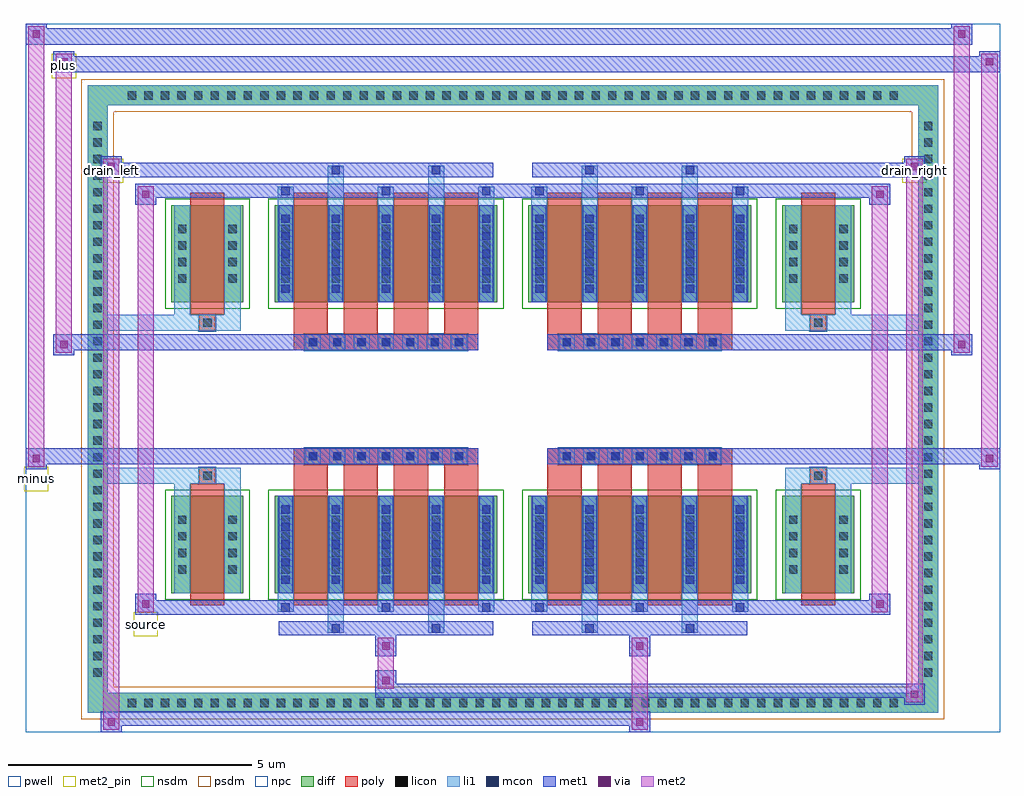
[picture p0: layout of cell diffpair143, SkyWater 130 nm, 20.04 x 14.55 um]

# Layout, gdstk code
import gdstk
lib = gdstk.Library(unit=1e-6, precision=5e-09)
def R(c, l, rs):  # rectangles x0, y0, x1, y1
    for r in rs: c.add(gdstk.rectangle(r[:2], r[2:], *l))
def A(c, l, x, y, w, h, nx, ny, dx, dy):  # array of equal rectangles
    R(c, l, [(x+i*dx, y+j*dy, x+i*dx+w, y+j*dy+h) for i in range(nx) for j in range(ny)])
def P(c, l, *ps):  # polygons
    for p in ps: c.add(gdstk.Polygon(p, *l))
pwell = (64, 44)
diff = (65, 20)
poly = (66, 20)
licon = (66, 44)
li1 = (67, 20)
mcon = (67, 44)
met1 = (68, 20)
via = (68, 44)
met2_pin = (69, 16)
met2 = (69, 20)
nsdm = (93, 44)
psdm = (94, 20)
npc = (95, 20)

diffpair143 = lib.new_cell('diffpair143')
R(diffpair143, pwell, [(-10,-6.84,10,7.71), (-7.32,-5.03,-0.01,-0.805), (0.01,-5.03,7.32,-0.805), (-7.32,0.805,-0.01,5.03), (0.01,0.805,7.32,5.03)])
A(diffpair143, diff, -8.025, -6.44, 0.41, 0.41, 47, 2, 0.34, 12.47)
A(diffpair143, diff, -8.73, -5.815, 0.41, 0.41, 1, 34, 0, 0.34)
A(diffpair143, diff, 8.32, -5.815, 0.41, 0.41, 1, 34, 0, 0.34)
R(diffpair143, diff, [(-8.025,-6.44,8.025,-6.03), (-8.73,-5.815,-8.32,5.815), (8.32,-5.815,8.73,5.815), (-7.01,-3.985,-5.53,-1.985), (-4.89,-3.985,-0.32,-1.985), (0.32,-3.985,4.89,-1.985), (5.53,-3.985,7.01,-1.985), (-7.01,1.985,-5.53,3.985), (-4.89,1.985,-0.32,3.985), (0.32,1.985,4.89,3.985), (5.53,1.985,7.01,3.985), (-8.025,6.03,8.025,6.44)])
P(diffpair143, diff, [(8.73,6.44),(-8.73,6.44),(-8.73,-6.03),(-8.32,-6.03),(-8.32,6.03),(8.32,6.03),(8.32,-6.03),(-8.32,-6.03),(-8.73,-6.03),(-8.73,-6.44),(8.73,-6.44)])
A(diffpair143, poly, -4.5, -4.235, 0.7, 2.5, 4, 2, 1.03, 5.97)
A(diffpair143, poly, 0.71, -4.235, 0.7, 2.5, 4, 2, 1.03, 5.97)
A(diffpair143, poly, -4.5, -1.735, 0.7, 0.4, 4, 2, 1.03, 3.07)
A(diffpair143, poly, 0.71, -1.735, 0.7, 0.4, 4, 2, 1.03, 3.07)
A(diffpair143, poly, -4.27, -1.335, 0.33, 0.33, 7, 2, 0.5, 2.34)
A(diffpair143, poly, 0.94, -1.335, 0.33, 0.33, 7, 2, 0.5, 2.34)
R(diffpair143, poly, [(-6.62,-4.235,-5.92,-1.735), (5.92,-4.235,6.62,-1.735), (-6.435,-1.735,-6.105,-1.405), (-6.435,-1.735,-6.105,-1.405), (6.105,-1.735,6.435,-1.405), (6.105,-1.735,6.435,-1.405), (-4.5,-1.335,-0.71,-1.005), (0.71,-1.335,4.5,-1.005), (-4.5,1.005,-0.71,1.335), (0.71,1.005,4.5,1.335), (-6.435,1.405,-6.105,1.735), (-6.435,1.405,-6.105,1.735), (6.105,1.405,6.435,1.735), (6.105,1.405,6.435,1.735), (-6.62,1.735,-5.92,4.235), (5.92,1.735,6.62,4.235)])
A(diffpair143, licon, -7.905, -6.32, 0.17, 0.17, 47, 2, 0.34, 12.47)
A(diffpair143, licon, -8.61, -5.695, 0.17, 0.17, 1, 34, 0, 0.34)
A(diffpair143, licon, 8.44, -5.695, 0.17, 0.17, 1, 34, 0, 0.34)
A(diffpair143, licon, -6.87, -3.58, 0.17, 0.17, 1, 4, 0, 0.34)
A(diffpair143, licon, -5.84, -3.58, 0.17, 0.17, 1, 4, 0, 0.34)
A(diffpair143, licon, -4.75, -3.58, 0.17, 0.17, 5, 4, 1.03, 0.34)
A(diffpair143, licon, 0.46, -3.58, 0.17, 0.17, 5, 4, 1.03, 0.34)
A(diffpair143, licon, 5.67, -3.58, 0.17, 0.17, 1, 4, 0, 0.34)
A(diffpair143, licon, 6.7, -3.58, 0.17, 0.17, 1, 4, 0, 0.34)
A(diffpair143, licon, -4.19, -1.255, 0.17, 0.17, 7, 2, 0.5, 2.34)
A(diffpair143, licon, 1.02, -1.255, 0.17, 0.17, 7, 2, 0.5, 2.34)
A(diffpair143, licon, -6.87, 2.39, 0.17, 0.17, 1, 4, 0, 0.34)
A(diffpair143, licon, -5.84, 2.39, 0.17, 0.17, 1, 4, 0, 0.34)
A(diffpair143, licon, -4.75, 2.39, 0.17, 0.17, 5, 4, 1.03, 0.34)
A(diffpair143, licon, 0.46, 2.39, 0.17, 0.17, 5, 4, 1.03, 0.34)
A(diffpair143, licon, 5.67, 2.39, 0.17, 0.17, 1, 4, 0, 0.34)
A(diffpair143, licon, 6.7, 2.39, 0.17, 0.17, 1, 4, 0, 0.34)
R(diffpair143, licon, [(-6.355,-1.655,-6.185,-1.485), (6.185,-1.655,6.355,-1.485), (-6.355,1.485,-6.185,1.655), (6.185,1.485,6.355,1.655)])
A(diffpair143, li1, -7.985, -6.4, 0.33, 0.33, 47, 2, 0.34, 12.47)
A(diffpair143, li1, -8.69, -5.775, 0.33, 0.33, 1, 34, 0, 0.34)
A(diffpair143, li1, 8.36, -5.775, 0.33, 0.33, 1, 34, 0, 0.34)
A(diffpair143, li1, -4.83, -4.36, 0.33, 0.375, 3, 2, 2.06, 8.345)
A(diffpair143, li1, -4.75, -4.36, 0.17, 0.17, 3, 2, 2.06, 8.55)
A(diffpair143, li1, 0.38, -4.36, 0.33, 0.375, 3, 2, 2.06, 8.345)
A(diffpair143, li1, 0.46, -4.36, 0.17, 0.17, 3, 2, 2.06, 8.55)
A(diffpair143, li1, -4.83, -3.985, 0.33, 2, 5, 2, 1.03, 5.97)
A(diffpair143, li1, 0.38, -3.985, 0.33, 2, 5, 2, 1.03, 5.97)
A(diffpair143, li1, -4.75, -3.79, 0.17, 0.17, 5, 5, 1.03, 0.36)
A(diffpair143, li1, -4.75, -3.79, 0.17, 1.61, 5, 2, 1.03, 5.97)
A(diffpair143, li1, 0.46, -3.79, 0.17, 0.17, 5, 5, 1.03, 0.36)
A(diffpair143, li1, 0.46, -3.79, 0.17, 1.61, 5, 2, 1.03, 5.97)
A(diffpair143, li1, -6.95, -3.66, 0.33, 0.33, 1, 4, 0, 0.34)
A(diffpair143, li1, -5.92, -3.66, 0.33, 0.33, 1, 4, 0, 0.34)
A(diffpair143, li1, -4.83, -3.66, 0.33, 0.33, 5, 4, 1.03, 0.34)
A(diffpair143, li1, 0.38, -3.66, 0.33, 0.33, 5, 4, 1.03, 0.34)
A(diffpair143, li1, 5.59, -3.66, 0.33, 0.33, 1, 4, 0, 0.34)
A(diffpair143, li1, 6.62, -3.66, 0.33, 0.33, 1, 4, 0, 0.34)
A(diffpair143, li1, -4.27, -1.335, 0.33, 0.33, 7, 2, 0.5, 2.34)
A(diffpair143, li1, 0.94, -1.335, 0.33, 0.33, 7, 2, 0.5, 2.34)
A(diffpair143, li1, -4.75, 2.18, 0.17, 0.17, 5, 5, 1.03, 0.36)
A(diffpair143, li1, 0.46, 2.18, 0.17, 0.17, 5, 5, 1.03, 0.36)
A(diffpair143, li1, -6.95, 2.31, 0.33, 0.33, 1, 4, 0, 0.34)
A(diffpair143, li1, -5.92, 2.31, 0.33, 0.33, 1, 4, 0, 0.34)
A(diffpair143, li1, -4.83, 2.31, 0.33, 0.33, 5, 4, 1.03, 0.34)
A(diffpair143, li1, 0.38, 2.31, 0.33, 0.33, 5, 4, 1.03, 0.34)
A(diffpair143, li1, 5.59, 2.31, 0.33, 0.33, 1, 4, 0, 0.34)
A(diffpair143, li1, 6.62, 2.31, 0.33, 0.33, 1, 4, 0, 0.34)
R(diffpair143, li1, [(-8.73,-6.44,-8.32,-6.03), (-8.73,-6.44,-8.32,-6.03), (-8.32,-6.44,8.32,-6.03), (8.32,-6.44,8.73,-6.03), (8.32,-6.44,8.73,-6.03), (-8.73,-6.03,-8.32,6.03), (8.32,-6.03,8.73,6.03), (-3.8,-4.79,-3.47,-3.985), (-3.72,-4.79,-3.55,-4.62), (-1.74,-4.79,-1.41,-3.985), (-1.66,-4.79,-1.49,-4.62), (1.41,-4.79,1.74,-3.985), (1.49,-4.79,1.66,-4.62), (3.47,-4.79,3.8,-3.985), (3.55,-4.79,3.72,-4.62), (-6.95,-3.985,-6.62,-1.985), (-5.92,-3.985,-5.59,-1.985), (5.59,-3.985,5.92,-1.985), (6.62,-3.985,6.95,-1.985), (-6.95,-1.985,-6.62,-1.405), (-5.92,-1.985,-5.59,-1.405), (5.59,-1.985,5.92,-1.405), (6.62,-1.985,6.95,-1.405), (-8.73,-1.735,-6.435,-1.405), (-6.95,-1.735,-6.435,-1.405), (-6.435,-1.735,-6.105,-1.405), (-6.105,-1.735,-5.59,-1.405), (5.59,-1.735,6.105,-1.405), (6.105,-1.735,6.435,-1.405), (6.105,-1.735,8.73,-1.405), (6.435,-1.735,6.95,-1.405), (-8.73,1.405,-6.435,1.735), (-6.95,1.405,-6.435,1.735), (-6.95,1.405,-6.62,1.985), (-6.435,1.405,-6.105,1.735), (-6.105,1.405,-5.59,1.735), (-5.92,1.405,-5.59,1.985), (5.59,1.405,6.105,1.735), (5.59,1.405,5.92,1.985), (6.105,1.405,6.435,1.735), (6.105,1.405,8.73,1.735), (6.435,1.405,6.95,1.735), (6.62,1.405,6.95,1.985), (-6.95,1.985,-6.62,3.985), (-5.92,1.985,-5.59,3.985), (5.59,1.985,5.92,3.985), (6.62,1.985,6.95,3.985), (-3.8,3.985,-3.47,4.79), (-1.74,3.985,-1.41,4.79), (1.41,3.985,1.74,4.79), (3.47,3.985,3.8,4.79), (-3.72,4.62,-3.55,4.79), (-1.66,4.62,-1.49,4.79), (1.49,4.62,1.66,4.79), (3.55,4.62,3.72,4.79), (-8.73,6.03,-8.32,6.44), (-8.73,6.03,-8.32,6.44), (-8.32,6.03,8.32,6.44), (8.32,6.03,8.73,6.44), (8.32,6.03,8.73,6.44)])
A(diffpair143, mcon, -4.75, -4.36, 0.17, 0.17, 3, 2, 2.06, 8.55)
A(diffpair143, mcon, 0.46, -4.36, 0.17, 0.17, 3, 2, 2.06, 8.55)
A(diffpair143, mcon, -4.75, -3.79, 0.17, 0.17, 5, 5, 1.03, 0.36)
A(diffpair143, mcon, 0.46, -3.79, 0.17, 0.17, 5, 5, 1.03, 0.36)
A(diffpair143, mcon, -4.19, -1.255, 0.17, 0.17, 7, 2, 0.5, 2.34)
A(diffpair143, mcon, 1.02, -1.255, 0.17, 0.17, 7, 2, 0.5, 2.34)
A(diffpair143, mcon, -4.75, 2.18, 0.17, 0.17, 5, 5, 1.03, 0.36)
A(diffpair143, mcon, 0.46, 2.18, 0.17, 0.17, 5, 5, 1.03, 0.36)
R(diffpair143, mcon, [(-3.72,-4.79,-3.55,-4.62), (-1.66,-4.79,-1.49,-4.62), (1.49,-4.79,1.66,-4.62), (3.55,-4.79,3.72,-4.62), (-3.72,4.62,-3.55,4.79), (-1.66,4.62,-1.49,4.79), (1.49,4.62,1.66,4.79), (3.55,4.62,3.72,4.79)])
A(diffpair143, met1, -4.81, -4.42, 0.29, 0.29, 3, 2, 2.06, 8.55)
A(diffpair143, met1, 0.4, -4.42, 0.29, 0.29, 3, 2, 2.06, 8.55)
A(diffpair143, met1, -4.81, -3.985, 0.29, 2, 5, 2, 1.03, 5.97)
A(diffpair143, met1, 0.4, -3.985, 0.29, 2, 5, 2, 1.03, 5.97)
A(diffpair143, met1, -4.81, -3.85, 0.29, 0.29, 5, 5, 1.03, 0.36)
A(diffpair143, met1, 0.4, -3.85, 0.29, 0.29, 5, 5, 1.03, 0.36)
A(diffpair143, met1, -4.25, -1.315, 0.29, 0.29, 7, 2, 0.5, 2.34)
A(diffpair143, met1, 0.96, -1.315, 0.29, 0.29, 7, 2, 0.5, 2.34)
A(diffpair143, met1, -4.81, 2.12, 0.29, 0.29, 5, 5, 1.03, 0.36)
A(diffpair143, met1, 0.4, 2.12, 0.29, 0.29, 5, 5, 1.03, 0.36)
R(diffpair143, met1, [(-8.46,-6.84,-8.03,-6.41), (2.39,-6.84,2.82,-6.41), (-8.46,-6.7,2.82,-6.41), (8.03,-6.27,8.46,-5.84), (-2.82,-6.13,8.46,-5.84), (-2.82,-5.99,-2.39,-5.56), (-2.82,-5.28,-2.39,-4.85), (2.39,-5.28,2.82,-4.85), (-4.81,-4.85,-0.4,-4.56), (-3.78,-4.85,-3.49,-4.56), (-1.72,-4.85,-1.43,-4.56), (0.4,-4.85,4.81,-4.56), (1.43,-4.85,1.72,-4.56), (3.49,-4.85,3.78,-4.56), (-7.75,-4.42,-7.32,-3.99), (-7.75,-4.42,-4.81,-4.13), (-4.81,-4.42,-0.4,-4.13), (-0.4,-4.42,0.4,-4.13), (0.4,-4.42,4.81,-4.13), (4.81,-4.42,7.75,-4.13), (7.32,-4.42,7.75,-3.99), (-10,-1.435,-9.57,-1.005), (9.57,-1.435,10,-1.005), (-10,-1.335,-0.71,-1.005), (-4.5,-1.335,-0.71,-1.005), (0.71,-1.335,4.5,-1.005), (0.71,-1.335,10,-1.005), (-9.43,0.905,-9,1.335), (9,0.905,9.43,1.335), (-9.43,1.005,-4.5,1.335), (-4.5,1.005,-0.71,1.335), (0.71,1.005,4.5,1.335), (4.5,1.005,9.43,1.335), (-7.75,3.99,-7.32,4.42), (7.32,3.99,7.75,4.42), (-7.75,4.13,-4.81,4.42), (-4.81,4.13,-0.4,4.42), (-0.4,4.13,0.4,4.42), (0.4,4.13,4.81,4.42), (4.81,4.13,7.75,4.42), (-8.46,4.56,-8.03,4.99), (-8.46,4.56,-4.81,4.85), (-4.81,4.56,-0.4,4.85), (-3.78,4.56,-3.49,4.85), (-1.72,4.56,-1.43,4.85), (0.4,4.56,4.81,4.85), (1.43,4.56,1.72,4.85), (3.49,4.56,3.78,4.85), (4.81,4.56,8.46,4.85), (8.03,4.56,8.46,4.99), (-9.43,6.71,-9,7.14), (-9.43,6.71,-7.32,7.04), (-7.32,6.71,7.32,7.04), (7.32,6.71,10,7.04), (9.57,6.71,10,7.14), (-10,7.28,-9.57,7.71), (-10,7.28,-7.32,7.61), (-7.32,7.28,7.32,7.61), (7.32,7.28,9.43,7.61), (9,7.28,9.43,7.71)])
R(diffpair143, via, [(-8.32,-6.7,-8.17,-6.55), (2.53,-6.7,2.68,-6.55), (8.17,-6.13,8.32,-5.98), (-2.68,-5.85,-2.53,-5.7), (-2.68,-5.14,-2.53,-4.99), (2.53,-5.14,2.68,-4.99), (-7.61,-4.28,-7.46,-4.13), (7.46,-4.28,7.61,-4.13), (-9.86,-1.295,-9.71,-1.145), (9.71,-1.295,9.86,-1.145), (-9.29,1.045,-9.14,1.195), (9.14,1.045,9.29,1.195), (-7.61,4.13,-7.46,4.28), (7.46,4.13,7.61,4.28), (-8.32,4.7,-8.17,4.85), (8.17,4.7,8.32,4.85), (-9.29,6.85,-9.14,7), (9.71,6.85,9.86,7), (-9.86,7.42,-9.71,7.57), (9.14,7.42,9.29,7.57)])
R(diffpair143, met2_pin, [(-7.785,-4.87,-7.285,-4.37), (-10.035,-1.885,-9.535,-1.385), (-8.495,4.44,-7.995,4.94), (7.995,4.44,8.495,4.94), (-9.465,6.59,-8.965,7.09)])
R(diffpair143, met2, [(-8.41,-6.79,-8.08,-6.46), (-8.41,-6.79,-8.08,4.94), (2.44,-6.79,2.77,-6.46), (2.44,-6.46,2.77,-5.23), (8.08,-6.22,8.41,-5.89), (8.08,-6.22,8.41,4.94), (-2.77,-5.94,-2.44,-5.61), (-2.77,-5.61,-2.44,-5.23), (-2.77,-5.23,-2.44,-4.9), (2.44,-5.23,2.77,-4.9), (-7.7,-4.37,-7.37,-4.04), (-7.7,-4.37,-7.37,4.37), (7.37,-4.37,7.7,-4.04), (7.37,-4.37,7.7,4.37), (-9.95,-1.385,-9.62,-1.055), (-9.95,-1.385,-9.62,7.66), (9.62,-1.385,9.95,-1.055), (9.62,-1.385,9.95,7.09), (-9.38,0.955,-9.05,1.285), (-9.38,0.955,-9.05,7.09), (9.05,0.955,9.38,1.285), (9.05,0.955,9.38,7.66), (-7.7,4.04,-7.37,4.37), (7.37,4.04,7.7,4.37), (-8.41,4.61,-8.08,4.94), (8.08,4.61,8.41,4.94), (-9.38,6.76,-9.05,7.09), (9.62,6.76,9.95,7.09), (-9.95,7.33,-9.62,7.66), (9.05,7.33,9.38,7.66)])
P(diffpair143, met2, [(9.95,-1.385),(9.95,-1.385),(9.95,-1.055),(9.95,-1.055)],
  [(9.95,6.76),(9.95,6.76),(9.95,7.09),(9.95,7.09)],
  [(-9.62,-1.385),(-9.62,-1.385),(-9.62,-1.055),(-9.62,-1.055)],
  [(-9.62,7.33),(-9.62,7.33),(-9.62,7.66),(-9.62,7.66)],
  [(9.38,0.955),(9.38,0.955),(9.38,1.285),(9.38,1.285)],
  [(9.38,7.33),(9.38,7.33),(9.38,7.66),(9.38,7.66)],
  [(-9.05,0.955),(-9.05,0.955),(-9.05,1.285),(-9.05,1.285)],
  [(-9.05,6.76),(-9.05,6.76),(-9.05,7.09),(-9.05,7.09)],
  [(-8.08,-6.79),(-8.08,-6.79),(-8.08,-6.46),(-8.08,-6.46)],
  [(-8.08,4.61),(-8.08,4.61),(-8.08,4.94),(-8.08,4.94)],
  [(8.41,-6.22),(8.41,-6.22),(8.41,-5.89),(8.41,-5.89)],
  [(8.41,4.61),(8.41,4.61),(8.41,4.94),(8.41,4.94)],
  [(-7.37,-4.37),(-7.37,-4.37),(-7.37,-4.04),(-7.37,-4.04)],
  [(-7.37,4.04),(-7.37,4.04),(-7.37,4.37),(-7.37,4.37)],
  [(7.7,-4.37),(7.7,-4.37),(7.7,-4.04),(7.7,-4.04)],
  [(7.7,4.04),(7.7,4.04),(7.7,4.37),(7.7,4.37)])
R(diffpair143, nsdm, [(-7.14,-4.115,-5.4,-1.855), (-5.02,-4.115,-0.19,-1.855), (0.19,-4.115,5.02,-1.855), (5.4,-4.115,7.14,-1.855), (-7.14,1.855,-5.4,4.115), (-5.02,1.855,-0.19,4.115), (0.19,1.855,5.02,4.115), (5.4,1.855,7.14,4.115)])
P(diffpair143, psdm, [(8.86,6.57),(-8.86,6.57),(-8.86,-5.9),(-8.19,-5.9),(-8.19,5.9),(8.19,5.9),(8.19,-5.9),(-8.19,-5.9),(-8.86,-5.9),(-8.86,-6.57),(8.86,-6.57)])
A(diffpair143, npc, -4.29, -1.355, 0.37, 0.37, 7, 2, 0.5, 2.34)
A(diffpair143, npc, 0.92, -1.355, 0.37, 0.37, 7, 2, 0.5, 2.34)
R(diffpair143, npc, [(-6.455,-1.755,-6.085,-1.385), (6.085,-1.755,6.455,-1.385), (-4.29,-1.355,-3.42,-0.985), (-4.29,-1.355,-3.42,-0.985), (-3.79,-1.355,-2.92,-0.985), (-3.79,-1.355,-2.92,-0.985), (-3.29,-1.355,-2.42,-0.985), (-3.29,-1.355,-2.42,-0.985), (-2.79,-1.355,-1.92,-0.985), (-2.79,-1.355,-1.92,-0.985), (-2.29,-1.355,-1.42,-0.985), (-2.29,-1.355,-1.42,-0.985), (-1.79,-1.355,-0.92,-0.985), (-1.79,-1.355,-0.92,-0.985), (0.92,-1.355,1.79,-0.985), (0.92,-1.355,1.79,-0.985), (1.42,-1.355,2.29,-0.985), (1.42,-1.355,2.29,-0.985), (1.92,-1.355,2.79,-0.985), (1.92,-1.355,2.79,-0.985), (2.42,-1.355,3.29,-0.985), (2.42,-1.355,3.29,-0.985), (2.92,-1.355,3.79,-0.985), (2.92,-1.355,3.79,-0.985), (3.42,-1.355,4.29,-0.985), (3.42,-1.355,4.29,-0.985), (-4.29,0.985,-3.42,1.355), (-4.29,0.985,-3.42,1.355), (-3.79,0.985,-2.92,1.355), (-3.79,0.985,-2.92,1.355), (-3.29,0.985,-2.42,1.355), (-3.29,0.985,-2.42,1.355), (-2.79,0.985,-1.92,1.355), (-2.79,0.985,-1.92,1.355), (-2.29,0.985,-1.42,1.355), (-2.29,0.985,-1.42,1.355), (-1.79,0.985,-0.92,1.355), (-1.79,0.985,-0.92,1.355), (0.92,0.985,1.79,1.355), (0.92,0.985,1.79,1.355), (1.42,0.985,2.29,1.355), (1.42,0.985,2.29,1.355), (1.92,0.985,2.79,1.355), (1.92,0.985,2.79,1.355), (2.42,0.985,3.29,1.355), (2.42,0.985,3.29,1.355), (2.92,0.985,3.79,1.355), (2.92,0.985,3.79,1.355), (3.42,0.985,4.29,1.355), (3.42,0.985,4.29,1.355), (-6.455,1.385,-6.085,1.755), (6.085,1.385,6.455,1.755)])
diffpair143.add(gdstk.Label('minus', (-9.785,-1.635), layer=69, texttype=5))
diffpair143.add(gdstk.Label('drain_right', (8.245,4.69), layer=69, texttype=5))
diffpair143.add(gdstk.Label('drain_left', (-8.245,4.69), layer=69, texttype=5))
diffpair143.add(gdstk.Label('source', (-7.535,-4.62), layer=69, texttype=5))
diffpair143.add(gdstk.Label('plus', (-9.215,6.84), layer=69, texttype=5))

lib.write_gds('diffpair143.gds')
